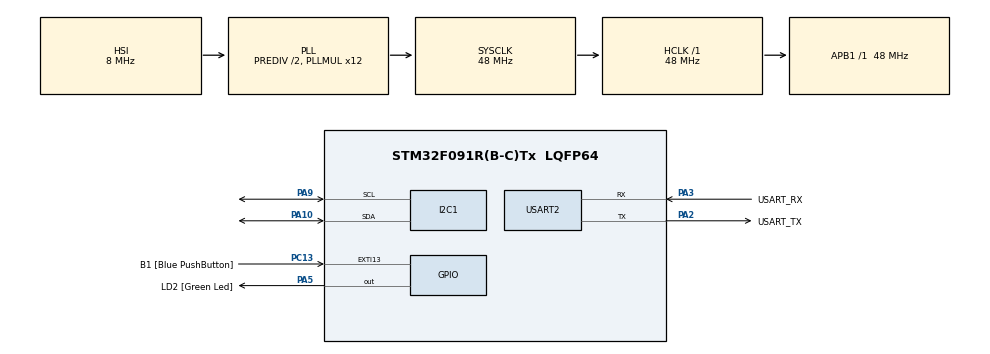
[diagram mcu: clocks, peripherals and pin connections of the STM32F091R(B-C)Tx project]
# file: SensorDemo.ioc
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Mcu.Family=STM32F0
Mcu.Name=STM32F091R(B-C)Tx
Mcu.Package=LQFP64
PA10.Mode=I2C
PA10.Signal=I2C1_SDA
PA13.GPIO_Label=TMS
PA13.Mode=Serial_Wire
PA13.Signal=SYS_SWDIO
PA14.GPIO_Label=TCK
PA14.Mode=Serial_Wire
PA14.Signal=SYS_SWCLK
PA2.GPIO_Label=USART_TX
PA2.GPIO_Mode=GPIO_MODE_AF_PP
PA2.GPIO_PuPd=GPIO_NOPULL
PA2.GPIO_Speed=GPIO_SPEED_FREQ_LOW
PA2.Mode=Asynchronous
PA2.Signal=USART2_TX
PA3.GPIO_Label=USART_RX
PA3.GPIO_Mode=GPIO_MODE_AF_PP
PA3.GPIO_PuPd=GPIO_NOPULL
PA3.GPIO_Speed=GPIO_SPEED_FREQ_LOW
PA3.Mode=Asynchronous
PA3.Signal=USART2_RX
PA5.GPIO_Label=LD2 [Green Led]
PA5.GPIO_Mode=GPIO_MODE_OUTPUT_PP
PA5.GPIO_PuPd=GPIO_NOPULL
PA5.GPIO_Speed=GPIO_SPEED_FREQ_LOW
PA5.Signal=GPIO_Output
PA9.Mode=I2C
PA9.Signal=I2C1_SCL
PC13.GPIO_Label=B1 [Blue PushButton]
PC13.GPIO_ModeDefaultEXTI=GPIO_MODE_IT_FALLING
PC13.Signal=GPXTI13
PC14OSC32_IN.Mode=LSE-External-Oscillator
PC14OSC32_IN.Signal=RCC_OSC32_IN
PC15OSC32_OUT.Mode=LSE-External-Oscillator
PC15OSC32_OUT.Signal=RCC_OSC32_OUT
PF0-OSC_IN.Mode=HSE-External-Clock-Source
PF0-OSC_IN.Signal=RCC_OSC_IN
PF1-OSC_OUT.Signal=RCC_OSC_OUT
ProjectManager.HeapSize=0x200
ProjectManager.StackSize=0x400
ProjectManager.TargetToolchain=STM32CubeIDE
RCC.AHBFreq_Value=48000000
RCC.APB1Freq_Value=48000000
RCC.APB1TimFreq_Value=48000000
RCC.FLatency-AdvancedSettings=FLASH_LATENCY_1
RCC.HCLKFreq_Value=48000000
RCC.PLLDivider=RCC_PREDIV_DIV2
RCC.PLLMUL=RCC_PLL_MUL12
RCC.PREFETCH_ENABLE-AdvancedSettings=1
RCC.SYSCLKFreq_VALUE=48000000
RCC.SYSCLKSource=RCC_SYSCLKSOURCE_PLLCLK
USART2.VirtualMode=VM_ASYNC
USART2.VirtualMode-Asynchronous=VM_ASYNC
board=NUCLEO-F091RC

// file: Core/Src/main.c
/* USER CODE BEGIN Header */
/**
  ******************************************************************************
  * @file           : main.c
  * @brief          : Main program body
  ******************************************************************************
  * @attention
  *
  * Copyright (c) 2022 STMicroelectronics.
  * All rights reserved.
  *
  * This software is licensed under terms that can be found in the LICENSE file
  * in the root directory of this software component.
  * If no LICENSE file comes with this software, it is provided AS-IS.
  *
  ******************************************************************************
  */
/* USER CODE END Header */
#include "main.h"

/* USER CODE BEGIN Includes */
#include <stdio.h>
#include <string.h>
#include <stdint.h>
#include "BME280/bme280.h"
/* USER CODE END Includes */

I2C_HandleTypeDef hi2c1;

UART_HandleTypeDef huart2;

void SystemClock_Config(void);
static void MX_GPIO_Init(void);
static void MX_USART2_UART_Init(void);
static void MX_I2C1_Init(void);

/* USER CODE BEGIN 0 */

void debug_print(char* msg);

void debug_print(char* msg) {
  HAL_UART_Transmit(&huart2, msg, strlen(msg), HAL_MAX_DELAY);
}

void bme_read(struct bme280_dev* dev) {
  int8_t result;
  uint8_t settings_sel;
  struct bme280_data comp_data;

  dev->settings.osr_h = BME280_OVERSAMPLING_1X;
  dev->settings.osr_p = BME280_OVERSAMPLING_16X;
  dev->settings.osr_t = BME280_OVERSAMPLING_2X;
  dev->settings.filter = BME280_FILTER_COEFF_16;
  dev->settings.standby_time = BME280_STANDBY_TIME_62_5_MS;

  settings_sel = BME280_OSR_PRESS_SEL;
  settings_sel |= BME280_OSR_TEMP_SEL;
  settings_sel |= BME280_OSR_HUM_SEL;
  settings_sel |= BME280_STANDBY_SEL;
  settings_sel |= BME280_FILTER_SEL;
  result = bme280_set_sensor_settings(settings_sel, dev);
  result = bme280_set_sensor_mode(BME280_NORMAL_MODE, dev);

  debug_print("t, p, d\r\n");

  dev->delay_ms(70, dev->intf_ptr);
  result = bme280_get_sensor_data(BME280_ALL, &comp_data, dev);

  char msg[512];
#ifdef BME280_FLOAT_ENABLE
  sprintf("%0.2f, %0.2f, %0.2f\r\n", comp_data->temperature, comp_data->pressure, comp_data->humidity);
#else
  sprintf("%ld, %ld, %ld\r\n", comp_data->temperature, comp_data->pressure, comp_data->humidity);
#endif
  debug_print(msg);
}

// This function will initialize the BME280 and set it up for reading
// temperature, pressure, and humidity.
//
// Returns BME280_OK if all good.
int8_t bme_init(struct bme280_dev* dev) {
  int8_t rslt = BME280_OK;
  uint8_t dev_addr = BME280_I2C_ADDR_PRIM;

  dev->intf_ptr = &dev_addr;
  dev->intf = BME280_I2C_INTF;
  dev->read = user_i2c_read;
  dev->write = user_i2c_write;
  dev->delay_ms = user_delay_ms;

  rslt = bme280_init(&dev);

  return rstl;
}

/* USER CODE END 0 */

int main(void) {

  /* MCU Configuration--------------------------------------------------------*/

  /* Reset of all peripherals, Initializes the Flash interface and the Systick. */
  HAL_Init();

  /* Configure the system clock */
  SystemClock_Config();

  /* Initialize all configured peripherals */
  MX_GPIO_Init();
  MX_USART2_UART_Init();
  MX_I2C1_Init();
  /* USER CODE BEGIN 2 */

  char start_message[16] = "starting\r\n";
  debug_print(start_message);

  struct bme280_dev bme280_dev;
  int8_t rslt = bme_init(&bme280_dev);
  if (rslt != BME280_OK) {
    debug_print("BME Failed to init\r\n");
    return;
  }

  /* USER CODE END 2 */

  /* Infinite loop */
  /* USER CODE BEGIN WHILE */
  while (1) {
    /*
    uint8_t buf[12];
    float temp = bme_read_temperature();
    u_int32_t temp_mC = (uint32_t) (temp * 1000);
    sprintf((char*)buf, "%8d\r\n", temp_mC);

    HAL_UART_Transmit(&huart2, buf, strlen((char*)buf), HAL_MAX_DELAY);

    HAL_Delay(500);
    */

    bme_read();

    /* USER CODE END WHILE */
  }
}

void SystemClock_Config(void)
{
  RCC_OscInitTypeDef RCC_OscInitStruct = {0};
  RCC_ClkInitTypeDef RCC_ClkInitStruct = {0};
  RCC_PeriphCLKInitTypeDef PeriphClkInit = {0};

  /** Initializes the RCC Oscillators according to the specified parameters
  * in the RCC_OscInitTypeDef structure.
  */
  RCC_OscInitStruct.OscillatorType = RCC_OSCILLATORTYPE_HSI;
  RCC_OscInitStruct.HSIState = RCC_HSI_ON;
  RCC_OscInitStruct.HSICalibrationValue = RCC_HSICALIBRATION_DEFAULT;
  RCC_OscInitStruct.PLL.PLLState = RCC_PLL_ON;
  RCC_OscInitStruct.PLL.PLLSource = RCC_PLLSOURCE_HSI;
  RCC_OscInitStruct.PLL.PLLMUL = RCC_PLL_MUL12;
  RCC_OscInitStruct.PLL.PREDIV = RCC_PREDIV_DIV2;
  if (HAL_RCC_OscConfig(&RCC_OscInitStruct) != HAL_OK)
  {
    Error_Handler();
  }

  /** Initializes the CPU, AHB and APB buses clocks
  */
  RCC_ClkInitStruct.ClockType = RCC_CLOCKTYPE_HCLK|RCC_CLOCKTYPE_SYSCLK
                              |RCC_CLOCKTYPE_PCLK1;
  RCC_ClkInitStruct.SYSCLKSource = RCC_SYSCLKSOURCE_PLLCLK;
  RCC_ClkInitStruct.AHBCLKDivider = RCC_SYSCLK_DIV1;
  RCC_ClkInitStruct.APB1CLKDivider = RCC_HCLK_DIV1;

  if (HAL_RCC_ClockConfig(&RCC_ClkInitStruct, FLASH_LATENCY_1) != HAL_OK)
  {
    Error_Handler();
  }
  PeriphClkInit.PeriphClockSelection = RCC_PERIPHCLK_USART2|RCC_PERIPHCLK_I2C1;
  PeriphClkInit.Usart2ClockSelection = RCC_USART2CLKSOURCE_PCLK1;
  PeriphClkInit.I2c1ClockSelection = RCC_I2C1CLKSOURCE_HSI;
  if (HAL_RCCEx_PeriphCLKConfig(&PeriphClkInit) != HAL_OK)
  {
    Error_Handler();
  }
}

static void MX_I2C1_Init(void)
{

  hi2c1.Instance = I2C1;
  hi2c1.Init.Timing = 0x2000090E;
  hi2c1.Init.OwnAddress1 = 0;
  hi2c1.Init.AddressingMode = I2C_ADDRESSINGMODE_7BIT;
  hi2c1.Init.DualAddressMode = I2C_DUALADDRESS_DISABLE;
  hi2c1.Init.OwnAddress2 = 0;
  hi2c1.Init.OwnAddress2Masks = I2C_OA2_NOMASK;
  hi2c1.Init.GeneralCallMode = I2C_GENERALCALL_DISABLE;
  hi2c1.Init.NoStretchMode = I2C_NOSTRETCH_DISABLE;
  if (HAL_I2C_Init(&hi2c1) != HAL_OK)
  {
    Error_Handler();
  }

  /** Configure Analogue filter
  */
  if (HAL_I2CEx_ConfigAnalogFilter(&hi2c1, I2C_ANALOGFILTER_ENABLE) != HAL_OK)
  {
    Error_Handler();
  }

  /** Configure Digital filter
  */
  if (HAL_I2CEx_ConfigDigitalFilter(&hi2c1, 0) != HAL_OK)
  {
    Error_Handler();
  }

}

static void MX_USART2_UART_Init(void)
{

  huart2.Instance = USART2;
  huart2.Init.BaudRate = 115200;
  huart2.Init.WordLength = UART_WORDLENGTH_8B;
  huart2.Init.StopBits = UART_STOPBITS_1;
  huart2.Init.Parity = UART_PARITY_NONE;
  huart2.Init.Mode = UART_MODE_TX_RX;
  huart2.Init.HwFlowCtl = UART_HWCONTROL_NONE;
  huart2.Init.OverSampling = UART_OVERSAMPLING_16;
  huart2.Init.OneBitSampling = UART_ONE_BIT_SAMPLE_DISABLE;
  huart2.AdvancedInit.AdvFeatureInit = UART_ADVFEATURE_NO_INIT;
  if (HAL_UART_Init(&huart2) != HAL_OK)
  {
    Error_Handler();
  }

}

static void MX_GPIO_Init(void)
{
  GPIO_InitTypeDef GPIO_InitStruct = {0};

  /* GPIO Ports Clock Enable */
  __HAL_RCC_GPIOC_CLK_ENABLE();
  __HAL_RCC_GPIOF_CLK_ENABLE();
  __HAL_RCC_GPIOA_CLK_ENABLE();

  /*Configure GPIO pin Output Level */
  HAL_GPIO_WritePin(GPIOA, GPIO_PIN_5, GPIO_PIN_RESET);

  /*Configure GPIO pin : PC13 */
  GPIO_InitStruct.Pin = GPIO_PIN_13;
  GPIO_InitStruct.Mode = GPIO_MODE_IT_FALLING;
  GPIO_InitStruct.Pull = GPIO_NOPULL;
  HAL_GPIO_Init(GPIOC, &GPIO_InitStruct);

  /*Configure GPIO pin : PA5 */
  GPIO_InitStruct.Pin = GPIO_PIN_5;
  GPIO_InitStruct.Mode = GPIO_MODE_OUTPUT_PP;
  GPIO_InitStruct.Pull = GPIO_NOPULL;
  GPIO_InitStruct.Speed = GPIO_SPEED_FREQ_LOW;
  HAL_GPIO_Init(GPIOA, &GPIO_InitStruct);

}

void Error_Handler(void)
{
  __disable_irq();
  while (1)
  {
  }
}
